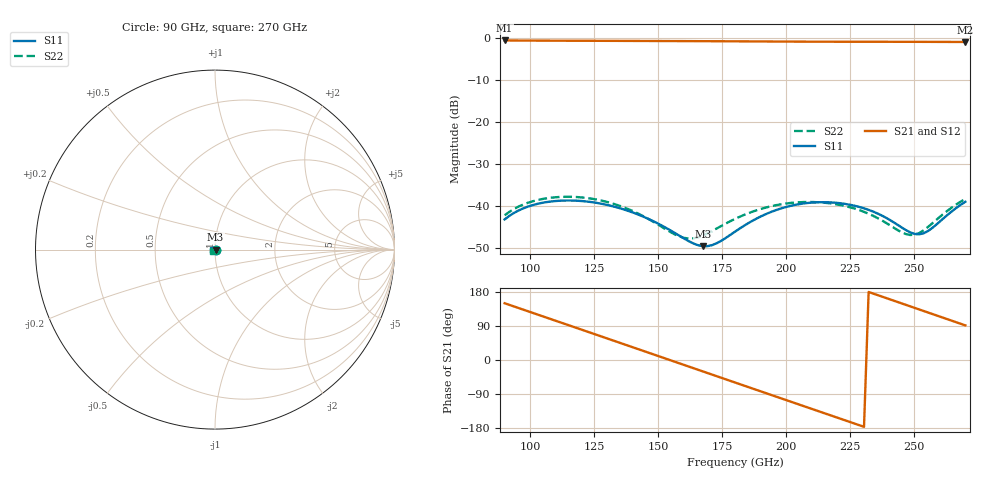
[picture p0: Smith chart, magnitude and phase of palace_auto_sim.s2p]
#  GHZ S DB R 50
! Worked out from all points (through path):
!   101 points, 90 GHz to 270 GHz, reference 50 ohm
!   highest |S21| = -0.67 dB at 90 GHz (marker M1); lowest = -1.0 dB at 270 GHz (marker M2)
!   group delay of S21, straight-line fit = 6.46 ps
!   lowest |S11| = -49.5 dB at 167.4 GHz (marker M3), VSWR 1.01, Z = 50.3 + j0.0375 ohm
!   |S11| at or under -10 dB: start of sweep to end of sweep
!   |S22| runs from -47.7 to -37.8 dB; largest |S21 - S12| = 1e-13
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90  -43.20 -14.3  -0.67 149.8  -0.67 149.8  -42.22 -16.3
97.2  -40.59 -40.2  -0.69 133.1  -0.69 133.1  -39.67 -41.0
106.2  -39.09 -68.6  -0.72 112.2  -0.72 112.2  -38.19 -68.6
113.4  -38.70 -91.3  -0.73 95.6  -0.73 95.6  -37.82 -90.6
120.6  -38.85 -115.2  -0.75 78.9  -0.75 78.9  -38.00 -113.6
127.8  -39.46 -140.7  -0.76 62.1  -0.76 62.1  -38.71 -138.2
136.8  -40.87 -175.5  -0.78 41.2  -0.78 41.2  -40.38 -172.3
151.2  -44.58 118.8  -0.81 7.7  -0.81 7.7  -44.89 118.1
160.2  -47.76 64.7  -0.83 -13.3  -0.83 -13.3  -47.59 53.1
167.4  -49.55 6.4  -0.84 -30.0  -0.84 -30.0  -47.03 -5.9
172.8  -48.87 -41.1  -0.86 -42.6  -0.86 -42.6  -45.36 -43.2
180  -46.11 -92.5  -0.88 -59.4  -0.88 -59.4  -43.07 -83.0
194.4  -41.34 -162.5  -0.92 -92.8  -0.92 -92.8  -40.02 -146.3
201.6  -39.99 169.7  -0.94 -109.5  -0.94 -109.5  -39.29 -173.9
210.6  -39.17 138.2  -0.96 -130.4  -0.96 -130.4  -39.07 153.8
219.6  -39.25 108.7  -0.97 -151.3  -0.97 -151.3  -39.60 122.9
226.8  -39.96 85.3  -0.98 -168.0  -0.98 -168.0  -40.63 97.8
241.2  -43.58 29.0  -0.99 158.5  -0.99 158.5  -44.85 33.6
248.4  -46.26 -17.4  -1.00 141.7  -1.00 141.7  -46.89 -21.3
253.8  -46.46 -65.4  -1.00 129.1  -1.00 129.1  -45.73 -68.8
262.8  -42.22 -128.8  -1.02 108.1  -1.02 108.1  -41.22 -123.7
270  -38.99 -160.7  -1.03 91.3  -1.03 91.3  -38.32 -153.5
